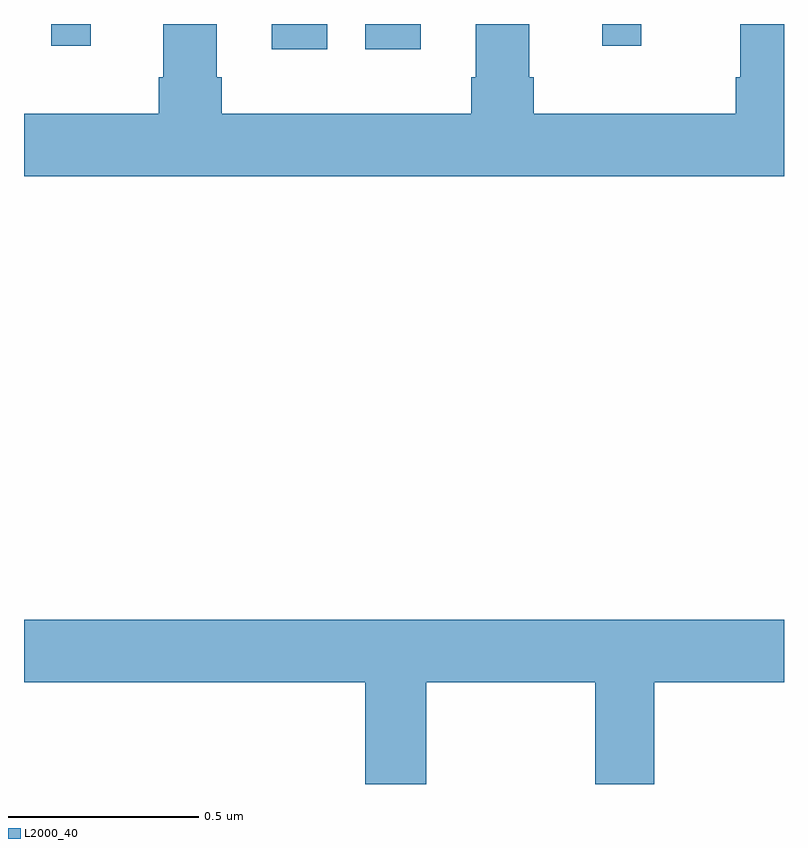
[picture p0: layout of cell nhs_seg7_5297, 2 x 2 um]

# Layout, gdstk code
import gdstk
lib = gdstk.Library(unit=1e-6, precision=1e-09)
def R(c, l, rs):  # rectangles x0, y0, x1, y1
    for r in rs: c.add(gdstk.rectangle(r[:2], r[2:], *l))
def P(c, l, *ps):  # polygons
    for p in ps: c.add(gdstk.Polygon(p, *l))
L2000_40 = (2000, 40)

nhs_seg7_5297 = lib.new_cell('nhs_seg7_5297')
R(nhs_seg7_5297, L2000_40, [(184.652,1016.934,184.798,1017), (184.898,1016.934,185.044,1017), (184.072,1016.943,184.175,1017), (185.522,1016.943,185.624,1017)])
P(nhs_seg7_5297, L2000_40, [(186,1017),(185.885,1017),(185.885,1016.86),(185.873,1016.86),(185.873,1016.764),(185.342,1016.764),(185.342,1016.86),(185.329,1016.86),(185.329,1017),(185.189,1017),(185.189,1016.86),(185.177,1016.86),(185.177,1016.764),(184.52,1016.764),(184.52,1016.86),(184.507,1016.86),(184.507,1017),(184.367,1017),(184.367,1016.86),(184.355,1016.86),(184.355,1016.764),(184,1016.764),(184,1016.6),(186,1016.6)],
  [(185.058,1015.268),(185.503,1015.268),(185.503,1015),(185.658,1015),(185.658,1015.268),(186,1015.268),(186,1015.432),(184,1015.432),(184,1015.268),(184.898,1015.268),(184.898,1015),(185.058,1015)])

lib.write_gds('nhs_seg7_5297.gds')
